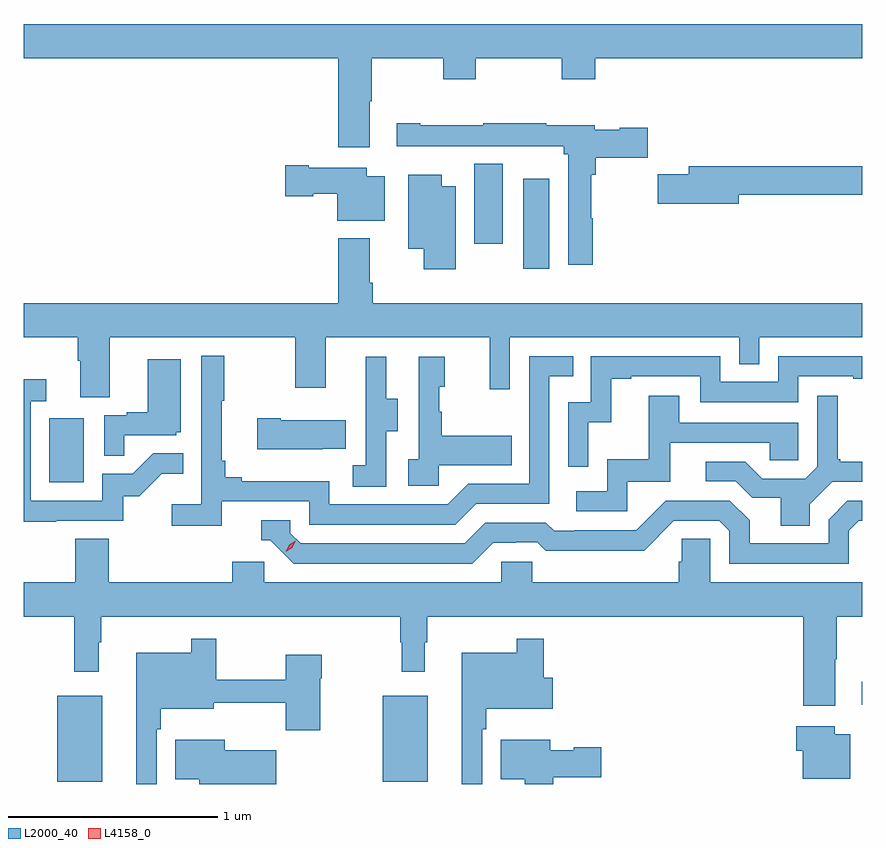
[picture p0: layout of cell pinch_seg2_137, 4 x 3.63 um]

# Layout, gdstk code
import gdstk
lib = gdstk.Library(unit=1e-6, precision=1e-09)
def R(c, l, rs):  # rectangles x0, y0, x1, y1
    for r in rs: c.add(gdstk.rectangle(r[:2], r[2:], *l))
def P(c, l, *ps):  # polygons
    for p in ps: c.add(gdstk.Polygon(p, *l))
L2000_40 = (2000, 40)
L4158_0 = (4158, 0)

pinch_seg2_137 = lib.new_cell('pinch_seg2_137')
R(pinch_seg2_137, L2000_40, [(1104.86,638.855,1105.075,639.265), (1106.414,638.855,1106.629,639.265), (1108.701,639.224,1108.702,639.334), (1104.824,640.284,1104.988,640.591), (1107.086,641.304,1107.208,641.734), (1106.852,641.424,1106.986,641.804)])
P(pinch_seg2_137, L2000_40, [(1104.702,642.308),(1106.201,642.308),(1106.201,641.883),(1106.353,641.883),(1106.353,642.104),(1106.361,642.104),(1106.361,642.308),(1106.704,642.308),(1106.704,642.209),(1106.859,642.209),(1106.859,642.308),(1107.268,642.308),(1107.268,642.209),(1107.428,642.209),(1107.428,642.308),(1108.702,642.308),(1108.702,642.472),(1104.702,642.472)],
  [(1107.416,641.546),(1107.409,641.546),(1107.409,641.753),(1107.43,641.753),(1107.43,641.834),(1107.679,641.834),(1107.679,641.976),(1107.546,641.976),(1107.546,641.968),(1107.426,641.968),(1107.426,641.988),(1107.194,641.988),(1107.194,641.998),(1106.893,641.998),(1106.893,641.988),(1106.593,641.988),(1106.593,641.998),(1106.481,641.998),(1106.481,641.888),(1106.756,641.888),(1106.756,641.889),(1107.278,641.889),(1107.278,641.85),(1107.3,641.85),(1107.3,641.322),(1107.416,641.322)],
  [(1106.425,641.746),(1106.338,641.746),(1106.338,641.785),(1106.062,641.785),(1106.062,641.798),(1105.95,641.798),(1105.95,641.651),(1106.082,641.651),(1106.082,641.663),(1106.198,641.663),(1106.198,641.534),(1106.425,641.534)],
  [(1108.114,641.656),(1108.702,641.656),(1108.702,641.792),(1107.875,641.792),(1107.875,641.756),(1107.726,641.756),(1107.726,641.614),(1108.114,641.614)],
  [(1106.764,641.698),(1106.695,641.698),(1106.695,641.752),(1106.537,641.752),(1106.537,641.399),(1106.609,641.399),(1106.609,641.301),(1106.764,641.301)],
  [(1105.111,640.976),(1105.996,640.976),(1105.996,640.737),(1106.143,640.737),(1106.143,640.976),(1106.924,640.976),(1106.924,640.728),(1107.021,640.728),(1107.021,640.976),(1108.116,640.976),(1108.116,640.849),(1108.212,640.849),(1108.212,640.976),(1108.702,640.976),(1108.702,641.14),(1106.366,641.14),(1106.366,641.236),(1106.353,641.236),(1106.353,641.449),(1106.201,641.449),(1106.201,641.14),(1104.702,641.14),(1104.702,640.976),(1104.959,640.976),(1104.959,640.864),(1104.971,640.864),(1104.971,640.69),(1105.111,640.69)],
  [(1105.646,640.194),(1106.064,640.194),(1106.064,640.083),(1106.761,640.083),(1106.86,640.182),(1107.21,640.182),(1107.21,640.791),(1107.323,640.791),(1107.323,640.887),(1107.114,640.887),(1107.114,640.278),(1106.823,640.278),(1106.724,640.179),(1106.16,640.179),(1106.16,640.291),(1105.741,640.291),(1105.741,640.31),(1105.664,640.31),(1105.664,640.387),(1105.645,640.387),(1105.645,640.675),(1105.657,640.675),(1105.657,640.888),(1105.548,640.888),(1105.548,640.18),(1105.407,640.18),(1105.407,640.078),(1105.646,640.078)],
  [(1107.396,640.571),(1107.506,640.571),(1107.506,640.779),(1107.601,640.779),(1107.601,640.791),(1107.93,640.791),(1107.93,640.668),(1108.398,640.668),(1108.398,640.791),(1108.661,640.791),(1108.661,640.779),(1108.702,640.779),(1108.702,640.887),(1108.302,640.887),(1108.302,640.764),(1108.026,640.764),(1108.026,640.887),(1107.408,640.887),(1107.408,640.668),(1107.3,640.668),(1107.3,640.359),(1107.396,640.359)],
  [(1106.682,640.367),(1107.029,640.367),(1107.029,640.507),(1106.695,640.507),(1106.695,640.622),(1106.685,640.622),(1106.685,640.74),(1106.71,640.74),(1106.71,640.885),(1106.586,640.885),(1106.586,640.394),(1106.535,640.394),(1106.535,640.269),(1106.682,640.269)],
  [(1106.43,640.528),(1106.485,640.528),(1106.485,640.683),(1106.431,640.683),(1106.431,640.885),(1106.333,640.885),(1106.333,640.671),(1106.334,640.671),(1106.334,640.367),(1106.271,640.367),(1106.271,640.264),(1106.43,640.264)],
  [(1105.181,640.509),(1105.428,640.509),(1105.428,640.524),(1105.45,640.524),(1105.45,640.873),(1105.292,640.873),(1105.292,640.618),(1105.193,640.618),(1105.193,640.605),(1105.086,640.605),(1105.086,640.411),(1105.181,640.411)],
  [(1104.857,640.101),(1105.176,640.101),(1105.176,640.218),(1105.252,640.218),(1105.359,640.325),(1105.463,640.325),(1105.463,640.424),(1105.319,640.424),(1105.221,640.326),(1105.077,640.326),(1105.077,640.197),(1104.735,640.197),(1104.735,640.671),(1104.808,640.671),(1104.808,640.777),(1104.702,640.777),(1104.702,640.096),(1104.857,640.096)],
  [(1107.582,640.287),(1107.787,640.287),(1107.787,640.473),(1108.261,640.473),(1108.261,640.389),(1108.398,640.389),(1108.398,640.569),(1107.829,640.569),(1107.829,640.699),(1107.685,640.699),(1107.685,640.396),(1107.486,640.396),(1107.486,640.242),(1107.339,640.242),(1107.339,640.146),(1107.582,640.146)],
  [(1108.453,640.18),(1108.56,640.287),(1108.702,640.287),(1108.702,640.384),(1108.597,640.384),(1108.597,640.396),(1108.585,640.396),(1108.585,640.699),(1108.488,640.699),(1108.488,640.359),(1108.431,640.302),(1108.225,640.302),(1108.144,640.383),(1107.957,640.383),(1107.957,640.29),(1108.098,640.29),(1108.178,640.21),(1108.313,640.21),(1108.313,640.078),(1108.453,640.078)],
  [(1106.129,640.445),(1106.237,640.445),(1106.237,640.582),(1105.927,640.582),(1105.927,640.59),(1105.815,640.59),(1105.815,640.442),(1106.129,640.442)],
  [(1106.941,639.996),(1107.048,639.996),(1107.048,639.999),(1107.151,639.999),(1107.193,639.957),(1107.426,639.957),(1107.426,639.959),(1107.662,639.959),(1107.804,640.101),(1108.02,640.101),(1108.068,640.053),(1108.068,639.897),(1108.638,639.897),(1108.638,640.053),(1108.686,640.101),(1108.702,640.101),(1108.702,640.197),(1108.632,640.197),(1108.542,640.107),(1108.542,639.993),(1108.165,639.993),(1108.165,640.103),(1108.071,640.197),(1107.765,640.197),(1107.624,640.056),(1107.331,640.056),(1107.331,640.053),(1107.232,640.053),(1107.193,640.092),(1106.904,640.092),(1106.805,639.993),(1106.022,639.993),(1105.974,640.041),(1105.974,640.104),(1105.835,640.104),(1105.835,640.008),(1105.878,640.008),(1105.989,639.897),(1106.842,639.897)],
  [(1108.573,639.44),(1108.581,639.44),(1108.581,639.644),(1108.702,639.644),(1108.702,639.808),(1107.978,639.808),(1107.978,640.016),(1107.841,640.016),(1107.841,639.906),(1107.827,639.906),(1107.827,639.808),(1107.129,639.808),(1107.129,639.906),(1106.979,639.906),(1106.979,639.808),(1105.848,639.808),(1105.848,639.906),(1105.697,639.906),(1105.697,639.808),(1105.106,639.808),(1105.106,640.016),(1104.946,640.016),(1104.946,639.808),(1104.702,639.808),(1104.702,639.644),(1104.943,639.644),(1104.943,639.381),(1105.06,639.381),(1105.06,639.521),(1105.072,639.521),(1105.072,639.644),(1106.497,639.644),(1106.497,639.521),(1106.505,639.521),(1106.505,639.381),(1106.614,639.381),(1106.614,639.521),(1106.626,639.521),(1106.626,639.644),(1108.421,639.644),(1108.421,639.219),(1108.573,639.219)],
  [(1106.889,639.107),(1106.909,639.107),(1106.909,639.203),(1107.226,639.203),(1107.226,639.351),(1107.182,639.351),(1107.182,639.538),(1107.054,639.538),(1107.054,639.472),(1106.792,639.472),(1106.792,638.845),(1106.889,638.845)],
  [(1105.335,639.107),(1105.355,639.107),(1105.355,639.203),(1105.609,639.203),(1105.609,639.232),(1105.951,639.232),(1105.951,639.102),(1106.116,639.102),(1106.116,639.35),(1106.124,639.35),(1106.124,639.463),(1105.951,639.463),(1105.951,639.343),(1105.621,639.343),(1105.621,639.538),(1105.5,639.538),(1105.5,639.472),(1105.238,639.472),(1105.238,638.845),(1105.335,638.845)],
  [(1108.645,639.082),(1108.571,639.082),(1108.571,639.121),(1108.388,639.121),(1108.388,639.003),(1108.418,639.003),(1108.418,638.87),(1108.645,638.87)],
  [(1105.907,639.007),(1105.66,639.007),(1105.66,639.055),(1105.424,639.055),(1105.424,638.867),(1105.538,638.867),(1105.538,638.845),(1105.907,638.845)],
  [(1107.227,638.878),(1107.457,638.878),(1107.457,639.02),(1107.327,639.02),(1107.327,639.007),(1107.214,639.007),(1107.214,639.055),(1106.978,639.055),(1106.978,638.867),(1107.092,638.867),(1107.092,638.845),(1107.227,638.845)])
P(pinch_seg2_137, L4158_0, [(1105.952,639.954),(1105.952,639.954),(1105.968,639.987),(1105.999,640.006),(1106,640.006),(1106,640.006),(1105.983,639.973),(1105.952,639.954)])

lib.write_gds('pinch_seg2_137.gds')
